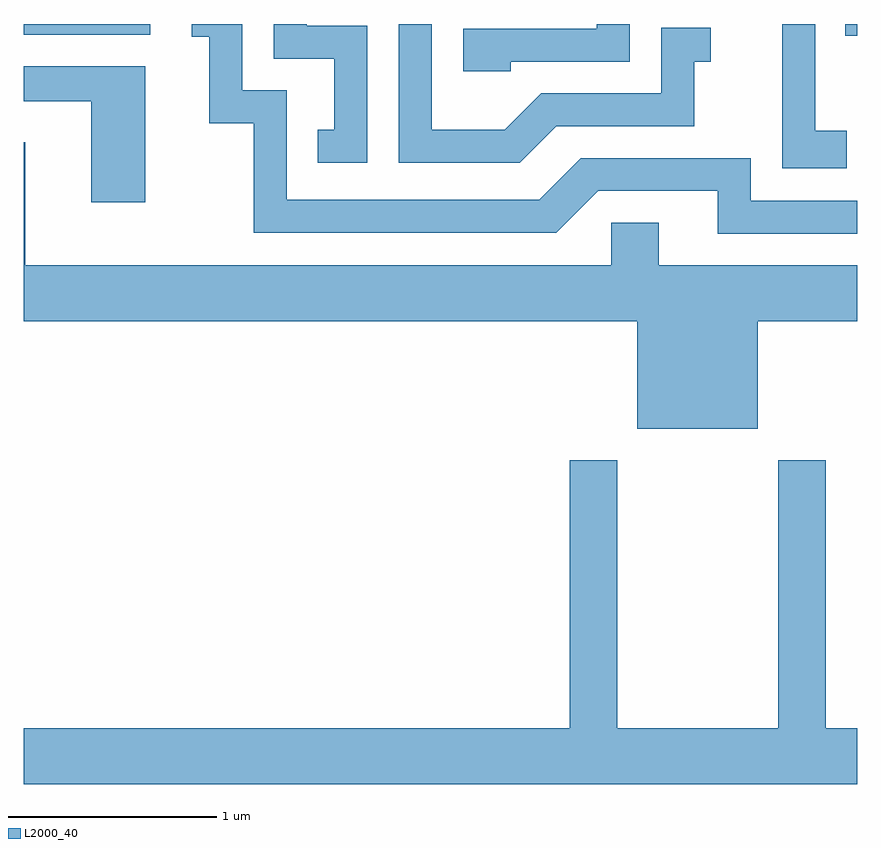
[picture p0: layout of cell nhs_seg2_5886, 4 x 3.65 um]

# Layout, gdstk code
import gdstk
lib = gdstk.Library(unit=1e-6, precision=1e-09)
def R(c, l, rs):  # rectangles x0, y0, x1, y1
    for r in rs: c.add(gdstk.rectangle(r[:2], r[2:], *l))
def P(c, l, *ps):  # polygons
    for p in ps: c.add(gdstk.Polygon(p, *l))
L2000_40 = (2000, 40)

nhs_seg2_5886 = lib.new_cell('nhs_seg2_5886')
R(nhs_seg2_5886, L2000_40, [(363.553,989.746,363.611,989.802), (359.611,989.751,360.218,989.802)])
P(nhs_seg2_5886, L2000_40, [(361.259,989.794),(360.969,989.794),(360.969,989.802),(360.811,989.802),(360.811,989.636),(361.101,989.636),(361.101,989.294),(361.023,989.294),(361.023,989.136),(361.259,989.136)],
  [(361.949,989.621),(362.519,989.621),(362.519,989.802),(362.361,989.802),(362.361,989.779),(361.721,989.779),(361.721,989.576),(361.949,989.576)],
  [(363.559,989.289),(363.409,989.289),(363.409,989.802),(363.251,989.802),(363.251,989.111),(363.559,989.111)],
  [(363.611,988.954),(363.099,988.954),(363.099,989.159),(362.284,989.159),(362.084,988.959),(360.874,988.959),(360.874,989.484),(360.659,989.484),(360.659,989.802),(360.418,989.802),(360.418,989.741),(360.501,989.741),(360.501,989.326),(360.716,989.326),(360.716,988.801),(362.167,988.801),(362.367,989.001),(362.941,989.001),(362.941,988.796),(363.611,988.796)],
  [(362.167,989.311),(362.829,989.311),(362.829,989.621),(362.908,989.621),(362.908,989.784),(362.671,989.784),(362.671,989.469),(362.094,989.469),(361.919,989.294),(361.569,989.294),(361.569,989.802),(361.411,989.802),(361.411,989.136),(361.992,989.136)],
  [(360.194,989.599),(359.611,989.599),(359.611,989.431),(359.936,989.431),(359.936,988.946),(360.194,988.946)],
  [(363.134,988.376),(363.611,988.376),(363.611,988.644),(362.659,988.644),(362.659,988.849),(362.431,988.849),(362.431,988.644),(359.619,988.644),(359.619,989.234),(359.611,989.234),(359.611,988.376),(362.556,988.376),(362.556,987.861),(363.134,987.861)],
  [(363.611,986.424),(363.459,986.424),(363.459,987.709),(363.231,987.709),(363.231,986.424),(362.459,986.424),(362.459,987.709),(362.231,987.709),(362.231,986.424),(359.611,986.424),(359.611,986.156),(363.611,986.156)])

lib.write_gds('nhs_seg2_5886.gds')
